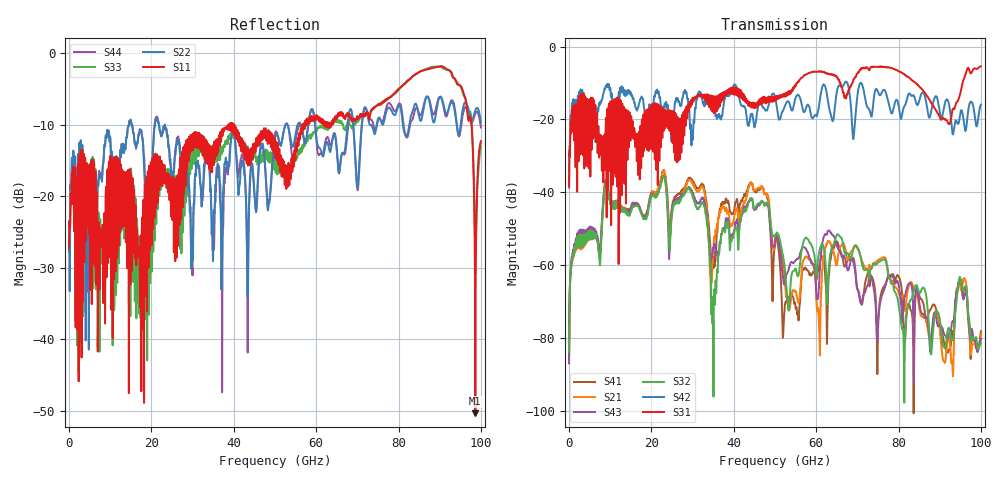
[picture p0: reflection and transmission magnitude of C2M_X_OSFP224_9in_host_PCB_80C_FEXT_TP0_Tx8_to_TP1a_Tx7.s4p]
# GHz S RI R 45
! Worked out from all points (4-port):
!   4000 points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, 25 MHz to 100 GHz, reference 45 ohm
!   strongest paths, dB at 25 MHz, 25.02 GHz, 50.02 GHz, 75.03 GHz, 100 GHz:
!     S31: -38.7, -19.7, -14.0, -5.6, -5.4
!     S42: -38.0, -22.6, -13.7, -12.5, -15.9
!     S32: -83.9, -45.9, -52.3, -59.3, -81.5
!     S43: -87.1, -44.5, -54.5, -75.9, -80.3
!     S21: -84.3, -45.4, -53.9, -58.6, -78.9
!     S41: -84.8, -44.0, -52.6, -77.8, -78.2
!   lowest |S11| = -50.3 dB at 98.65 GHz (marker M1), VSWR 1.01, Z = 45.3 - j0.00634 ohm
!   |S11| at or under -10 dB: start of sweep to 38.69 GHz; 40.17 GHz to 56.63 GHz (16.46 GHz wide, 34 % of centre); 97.72 GHz to end of sweep (the widest 3 of 17)
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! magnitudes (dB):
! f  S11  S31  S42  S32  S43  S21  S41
! 25 MHz  -27.2  -38.7  -38.0  -83.9  -87.1  -84.3  -84.8
! 22.98 GHz  -18.1  -22.1  -17.1  -35.5  -35.4  -34.2  -33.9
! 35 GHz  -13.7  -13.7  -15.4  -74.1  -55.5  -56.3  -60.3
! 44.17 GHz  -15.3  -16.3  -18.5  -41.6  -41.8  -37.4  -37.3
! 52.15 GHz  -15.2  -13.4  -17.0  -58.8  -65.1  -61.5  -75.4
! 98.65 GHz  -50.3  -6.0  -20.2  -80.2  -81.0  -82.1  -81.7
! 100 GHz  -12.3  -5.4  -15.9  -81.5  -80.3  -78.9  -78.2
